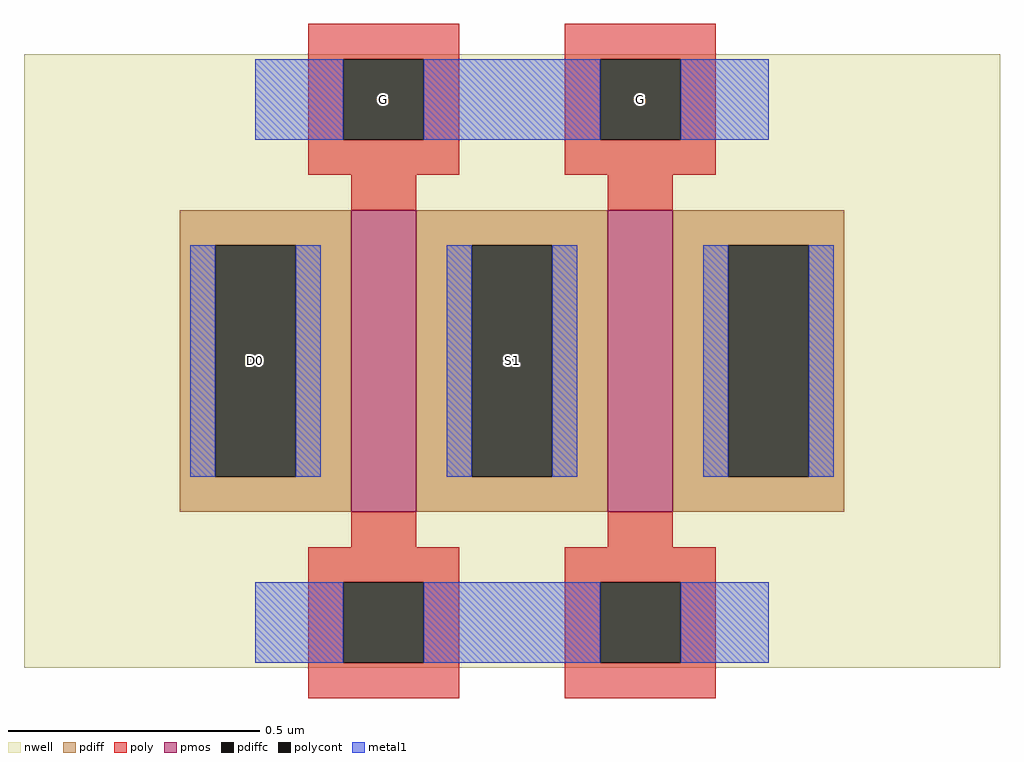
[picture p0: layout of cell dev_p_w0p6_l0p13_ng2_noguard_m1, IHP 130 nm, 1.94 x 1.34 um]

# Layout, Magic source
magic
tech ihp-sg13cmos5l
magscale 1 2
<< nwell >>
rect -194 -122 194 122
<< pmos >>
rect -64 -60 -38 60
rect 38 -60 64 60
<< pdiff >>
rect -132 46 -64 60
rect -132 -46 -118 46
rect -86 -46 -64 46
rect -132 -60 -64 -46
rect -38 46 38 60
rect -38 -46 -16 46
rect 16 -46 38 46
rect -38 -60 38 -46
rect 64 46 132 60
rect 64 -46 86 46
rect 118 -46 132 46
rect 64 -60 132 -46
<< pdiffc >>
rect -118 -46 -86 46
rect -16 -46 16 46
rect 86 -46 118 46
<< poly >>
rect -81 120 -21 134
rect -81 88 -67 120
rect -35 88 -21 120
rect -81 74 -21 88
rect 21 120 81 134
rect 21 88 35 120
rect 67 88 81 120
rect 21 74 81 88
rect -64 60 -38 74
rect 38 60 64 74
rect -64 -74 -38 -60
rect 38 -74 64 -60
rect -81 -88 -21 -74
rect -81 -120 -67 -88
rect -35 -120 -21 -88
rect -81 -134 -21 -120
rect 21 -88 81 -74
rect 21 -120 35 -88
rect 67 -120 81 -88
rect 21 -134 81 -120
<< polycont >>
rect -67 88 -35 120
rect 35 88 67 120
rect -67 -120 -35 -88
rect 35 -120 67 -88
<< metal1 >>
rect -102 88 -67 120
rect -35 88 35 120
rect 67 88 102 120
rect -128 -46 -118 46
rect -86 -46 -76 46
rect -26 -46 -16 46
rect 16 -46 26 46
rect 76 -46 86 46
rect 118 -46 128 46
rect -102 -120 -67 -88
rect -35 -120 35 -88
rect 67 -120 102 -88
<< labels >>
rlabel pdiffc -102 0 -102 0 0 D0
port 1 nsew
rlabel polycont -51 104 -51 104 0 G
port 2 nsew
rlabel pdiffc 0 0 0 0 0 S1
port 3 nsew
rlabel polycont 51 104 51 104 0 G
port 2 nsew
<< properties >>
string gencell sg13_lv_pmos
string library sg13cmos5l
string parameters w 0.6 l 0.13 m 1 ng 2 diffcov 100 polycov 100 guard 0 glc 1 grc 1 gtc 1 gbc 1 tbcov 100 rlcov 100 topc 1 botc 1 poverlap 0 doverlap 1 lmin 0.13 wmin 0.15 class mosfet compatible {sg13_lv_pmos sg13_hv_pmos} full_metal 1 conn_gates 1 gate_ring 0 ccols 1 viasrc 0 viadrn 0 viagate 0 viagb 0 viagr 0 viagl 0 viagt 0 doports 1
<< end >>
